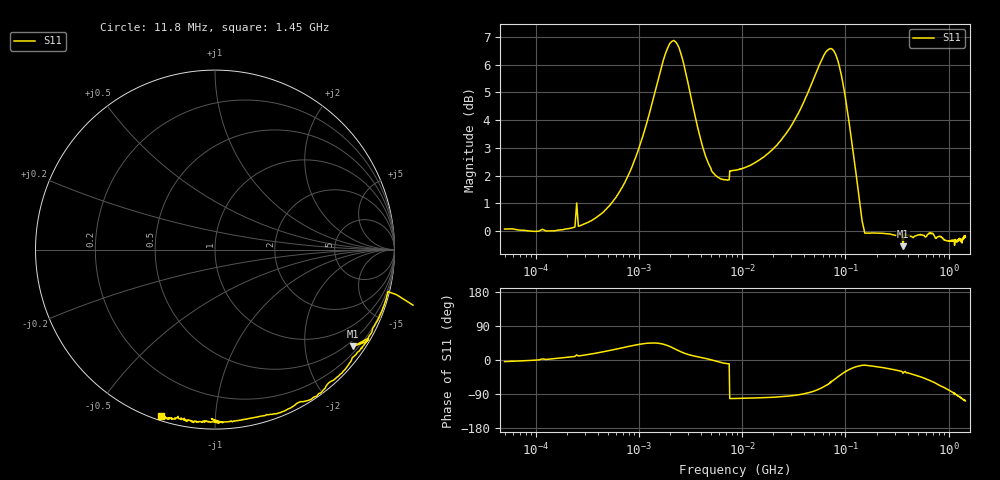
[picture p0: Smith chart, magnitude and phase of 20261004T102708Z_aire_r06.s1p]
! piloto_corto / aire / r06
# HZ S RI R 50
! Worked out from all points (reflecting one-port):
!   501 points, 50 kHz to 1.45 GHz, reference 50 ohm
!   lowest |S11| = -0.5 dB at 361 MHz (marker M1), VSWR 32.11, Z = 17 - j157 ohm
!   phase of S11 starts at -4 deg and turns -104 deg over the sweep
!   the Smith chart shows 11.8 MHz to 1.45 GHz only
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50000  1.006 -0.0728
183000  1.001 0.0985
363500  1.005 0.3052
658000  1.014 0.6087
1180000  1.121 1.082
1630000  1.43 1.34
1990000  1.769 1.272
2440000  1.958 0.8705
3430000  1.611 0.2979
4870000  1.307 0.0304
7300000  1.219 -0.2101
7750000  -0.2611 -1.257
8560000  -0.2564 -1.262
1.81e7  -0.2117 -1.368
3.16e7  -0.1016 -1.574
4.78e7  0.2101 -1.846
6.67e7  0.8573 -1.934
7.57e7  1.237 -1.722
8.83e7  1.495 -1.274
9.82e7  1.506 -0.9369
1e8  1.497 -0.882
1.18e8  1.309 -0.4964
1.36e8  1.103 -0.3093
1.63e8  0.9609 -0.2464
3.61e8  0.7692 -0.5396
4.06e8  0.81 -0.556
7.03e8  0.5301 -0.8367
1.45e9  -0.3006 -0.9278
